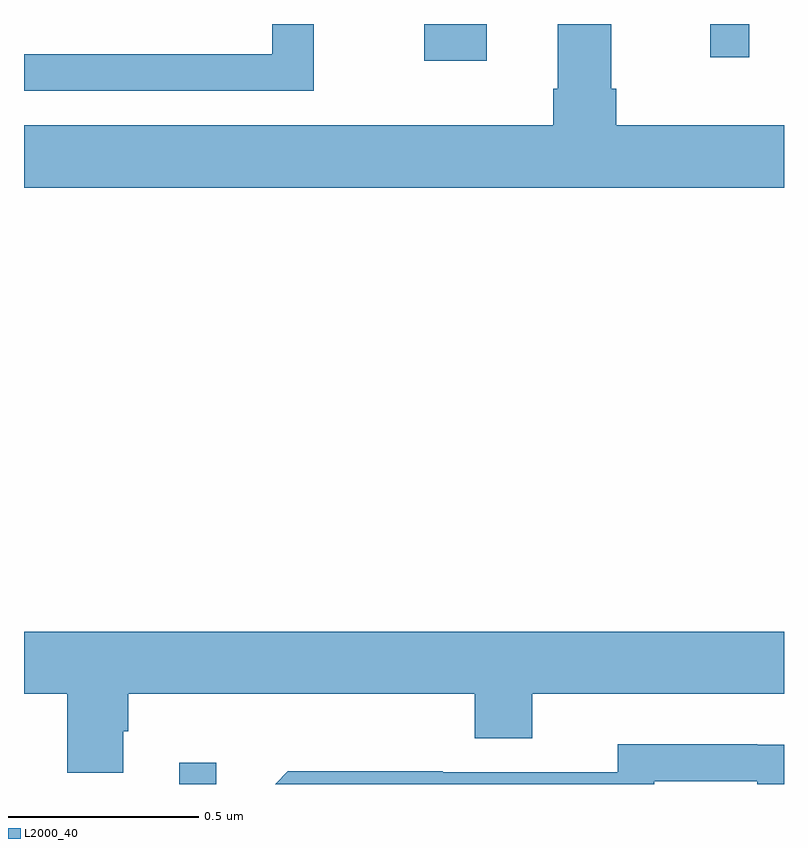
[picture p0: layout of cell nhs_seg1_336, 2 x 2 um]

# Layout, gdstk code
import gdstk
lib = gdstk.Library(unit=1e-6, precision=1e-09)
def R(c, l, rs):  # rectangles x0, y0, x1, y1
    for r in rs: c.add(gdstk.rectangle(r[:2], r[2:], *l))
def P(c, l, *ps):  # polygons
    for p in ps: c.add(gdstk.Polygon(p, *l))
L2000_40 = (2000, 40)

nhs_seg1_336 = lib.new_cell('nhs_seg1_336')
R(nhs_seg1_336, L2000_40, [(115.409,514.199,115.506,514.255), (116.053,516.102,116.218,516.199), (116.806,516.111,116.909,516.199)])
P(nhs_seg1_336, L2000_40, [(117,515.932),(116.558,515.932),(116.558,516.028),(116.545,516.028),(116.545,516.199),(116.405,516.199),(116.405,516.028),(116.393,516.028),(116.393,515.932),(115,515.932),(115,515.768),(117,515.768)],
  [(115.762,516.199),(115.653,516.199),(115.653,516.12),(115,516.12),(115,516.024),(115.762,516.024)],
  [(115.261,514.338),(115.274,514.338),(115.274,514.436),(116.186,514.436),(116.186,514.319),(116.338,514.319),(116.338,514.436),(117,514.436),(117,514.6),(115,514.6),(115,514.436),(115.114,514.436),(115.114,514.228),(115.261,514.228)],
  [(116.658,514.206),(116.93,514.206),(116.93,514.199),(117,514.199),(117,514.302),(116.93,514.302),(116.93,514.303),(116.562,514.303),(116.562,514.23),(116.102,514.23),(116.102,514.232),(115.694,514.232),(115.661,514.199),(116.658,514.199)])

lib.write_gds('nhs_seg1_336.gds')
